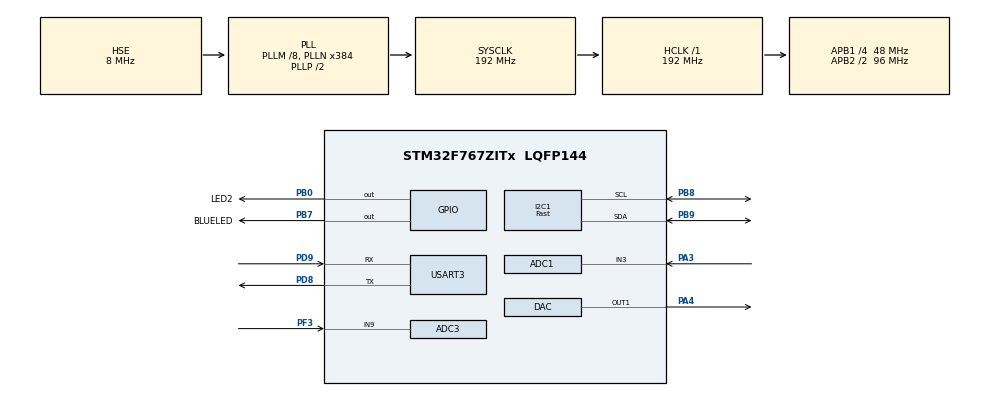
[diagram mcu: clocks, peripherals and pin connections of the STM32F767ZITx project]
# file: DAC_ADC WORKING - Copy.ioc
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ADC1.Channel-0\#ChannelRegularConversion=ADC_CHANNEL_3
ADC1.DMAContinuousRequests=ENABLE
ADC1.ExternalTrigConv=ADC_EXTERNALTRIGCONV_T6_TRGO
ADC1.NbrOfConversionFlag=1
ADC1.Rank-0\#ChannelRegularConversion=1
ADC1.SamplingTime-0\#ChannelRegularConversion=ADC_SAMPLETIME_3CYCLES
ADC1.master=1
ADC3.Channel-1\#ChannelRegularConversion=ADC_CHANNEL_9
ADC3.DMAContinuousRequests=ENABLE
ADC3.ExternalTrigConv=ADC_EXTERNALTRIGCONV_T6_TRGO
ADC3.NbrOfConversionFlag=1
ADC3.Rank-1\#ChannelRegularConversion=1
ADC3.SamplingTime-1\#ChannelRegularConversion=ADC_SAMPLETIME_3CYCLES
CORTEX_M7.default_mode_Activation=1
DAC.DAC_Trigger=DAC_TRIGGER_NONE
Dma.ADC1.0.Direction=DMA_PERIPH_TO_MEMORY
Dma.ADC1.0.FIFOMode=DMA_FIFOMODE_DISABLE
Dma.ADC1.0.Instance=DMA2_Stream0
Dma.ADC1.0.MemDataAlignment=DMA_MDATAALIGN_HALFWORD
Dma.ADC1.0.MemInc=DMA_MINC_ENABLE
Dma.ADC1.0.Mode=DMA_NORMAL
Dma.ADC1.0.PeriphDataAlignment=DMA_PDATAALIGN_HALFWORD
Dma.ADC1.0.PeriphInc=DMA_PINC_DISABLE
Dma.ADC1.0.Priority=DMA_PRIORITY_LOW
Dma.ADC3.1.Direction=DMA_PERIPH_TO_MEMORY
Dma.ADC3.1.FIFOMode=DMA_FIFOMODE_DISABLE
Dma.ADC3.1.Instance=DMA2_Stream1
Dma.ADC3.1.MemDataAlignment=DMA_MDATAALIGN_HALFWORD
Dma.ADC3.1.MemInc=DMA_MINC_ENABLE
Dma.ADC3.1.Mode=DMA_NORMAL
Dma.ADC3.1.PeriphDataAlignment=DMA_PDATAALIGN_HALFWORD
Dma.ADC3.1.PeriphInc=DMA_PINC_DISABLE
Dma.ADC3.1.Priority=DMA_PRIORITY_LOW
Dma.Request0=ADC1
Dma.Request1=ADC3
I2C1.I2C_Speed_Mode=I2C_Fast
I2C1.Timing=0x2010091A
Mcu.Family=STM32F7
Mcu.Name=STM32F767ZITx
Mcu.Package=LQFP144
NVIC.DMA2_Stream0_IRQn=true\:0\:0\:false\:false\:true\:false\:true\:true
NVIC.DMA2_Stream1_IRQn=true\:0\:0\:false\:false\:true\:false\:true\:true
NVIC.PriorityGroup=NVIC_PRIORITYGROUP_4
NVIC.TIM7_IRQn=true\:0\:0\:false\:false\:true\:true\:true\:true
PA3.Signal=ADCx_IN3
PA4.Signal=COMP_DAC1_group
PB0.GPIO_Label=LED2
PB0.Signal=GPIO_Output
PB7.GPIO_Label=BLUELED
PB7.Signal=GPIO_Output
PB8.Mode=I2C
PB8.Signal=I2C1_SCL
PB9.Mode=I2C
PB9.Signal=I2C1_SDA
PD8.Mode=Asynchronous
PD8.Signal=USART3_TX
PD9.Mode=Asynchronous
PD9.Signal=USART3_RX
PF3.Mode=IN9
PF3.Signal=ADC3_IN9
PH0/OSC_IN.Mode=HSE-External-Clock-Source
PH0/OSC_IN.Signal=RCC_OSC_IN
PH1/OSC_OUT.Mode=HSE-External-Clock-Source
PH1/OSC_OUT.Signal=RCC_OSC_OUT
ProjectManager.HeapSize=0x200
ProjectManager.StackSize=0x400
ProjectManager.TargetToolchain=STM32CubeIDE
RCC.AHBFreq_Value=192000000
RCC.APB1CLKDivider=RCC_HCLK_DIV4
RCC.APB1Freq_Value=48000000
RCC.APB1TimFreq_Value=96000000
RCC.APB2CLKDivider=RCC_HCLK_DIV2
RCC.APB2Freq_Value=96000000
RCC.APB2TimFreq_Value=192000000
RCC.CortexFreq_Value=192000000
RCC.HCLKFreq_Value=192000000
RCC.HSE_VALUE=8000000
RCC.HSI_VALUE=16000000
RCC.LSE_VALUE=32768
RCC.PLLM=8
RCC.PLLN=384
RCC.PLLSourceVirtual=RCC_PLLSOURCE_HSE
RCC.SYSCLKFreq_VALUE=192000000
RCC.SYSCLKSource=RCC_SYSCLKSOURCE_PLLCLK
RCC.USBFreq_Value=192000000
RCC.VCOOutputFreq_Value=384000000
SH.ADCx_IN3.0=ADC1_IN3,IN3
SH.COMP_DAC1_group.0=DAC_OUT1,DAC_OUT1
TIM6.Period=1200-1
TIM6.Prescaler=8-1
TIM6.TIM_MasterOutputTrigger=TIM_TRGO_UPDATE
TIM7.Period=119
TIM7.Prescaler=7
USART3.VirtualMode-Asynchronous=VM_ASYNC
VP_TIM6_VS_ClockSourceINT.Mode=Enable_Timer
VP_TIM7_VS_ClockSourceINT.Mode=Enable_Timer
board=custom

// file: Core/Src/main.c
/* USER CODE BEGIN Header */
/**
  ******************************************************************************
  * @file           : main.c
  * @brief          : Main program body
  ******************************************************************************
  * @attention
  *
  * Copyright (c) 2025 STMicroelectronics.
  * All rights reserved.
  *
  * This software is licensed under terms that can be found in the LICENSE file
  * in the root directory of this software component.
  * If no LICENSE file comes with this software, it is provided AS-IS.
  *
  ******************************************************************************
  */
/* USER CODE END Header */
#include "main.h"

/* USER CODE BEGIN Includes */
//#include "math.h"
#include <stdio.h>
#include "arm_math.h"
#include "ssd1306.h"
#include "ssd1306_fonts.h"

/* USER CODE END Includes */

/* USER CODE BEGIN PD */
#define NUM_SAMPLES 1024
#define ARM_MATH_CM7
#define fft_buf_size 1024
#define REF_RESISTANCE 2400.0f    // Ohms (Ri = 3.66kΩ)
#define ADC_VREF 3.3f             // ADC reference voltage
#define ADC_MAX_VALUE 4095.0f     // For a 12-bit ADC (2^12 - 1)

/* USER CODE END PD */

ADC_HandleTypeDef hadc1;
ADC_HandleTypeDef hadc3;
DMA_HandleTypeDef hdma_adc1;
DMA_HandleTypeDef hdma_adc3;

DAC_HandleTypeDef hdac;

I2C_HandleTypeDef hi2c1;

TIM_HandleTypeDef htim6;
TIM_HandleTypeDef htim7;

UART_HandleTypeDef huart3;

/* USER CODE BEGIN PV */
uint16_t adc1_buf[NUM_SAMPLES];
uint16_t adc3_buf[NUM_SAMPLES];
uint16_t sine_LUT[NUM_SAMPLES];
uint32_t N = NUM_SAMPLES;
uint32_t M = 32;
uint32_t freq_out ;
uint32_t fsampling ; // Hz (adjust based on TIM6 config)
uint32_t phase_inc;
uint32_t phase_acc;
uint32_t dac_res = 12;
uint32_t lut_idx;
uint32_t k;

/* USER CODE END PV */

void SystemClock_Config(void);
static void MPU_Config(void);
static void MX_GPIO_Init(void);
static void MX_DMA_Init(void);
static void MX_DAC_Init(void);
static void MX_TIM6_Init(void);
static void MX_ADC1_Init(void);
static void MX_USART3_UART_Init(void);
static void MX_TIM7_Init(void);
static void MX_ADC3_Init(void);
static void MX_I2C1_Init(void);

/* USER CODE BEGIN 0 */
float value = 0.2;

uint32_t var;

float32_t fft_input_v1[NUM_SAMPLES * 2];
float32_t fft_input_v2[NUM_SAMPLES * 2];
float32_t fft_output_v1[NUM_SAMPLES];  // Magnitude spectrum
float32_t fft_output_v2[NUM_SAMPLES];  // Magnitude spectrum
// Results
typedef struct {
    float magnitude_v1;    // V1 magnitude at signal frequency
    float magnitude_v2;    // V2 magnitude at signal frequency
    float phase_v1;        // V1 phase (radians)
    float phase_v2;        // V2 phase (radians)
    float phase_diff;      // V2 - V1 phase difference
    float impedance_mag;   // |Z(ω)|
    float impedance_phase; // ∠Z(ω)
    float real_z;          // Real part of Z
    float imag_z;          // Imaginary part of Z
    float I_component;     // In-phase component
    float Q_component;     // Quadrature component
} ImpedanceResult;

ImpedanceResult result;

// FFT instance (use appropriate size)
arm_rfft_fast_instance_f32 fft_instance;
/* USER CODE END 0 */

int main(void)
{

  /* USER CODE BEGIN 1 */
	for (int i = 0; i < NUM_SAMPLES; i++){
	float32_t theta = 2*PI * (float32_t)(i)/(float32_t)(NUM_SAMPLES);

	/// Converting sine value (-1 to +1) to DAC range from 0 to 4095 for 12-bit)
	sine_LUT[i] = ((arm_cos_f32(theta)*0.95)+1) * (1 << dac_res) /2; //adding headroom by scaling down from 100% to 95% to remove clipping
		}
		freq_out = 10;
		fsampling = 10000;

		//This represents the fraction of a complete sine cycle per sample
		phase_inc = ((float64_t)freq_out/ fsampling) * pow(2.0, M);
		phase_acc = 0;
		k = log2(NUM_SAMPLES);
  /* USER CODE END 1 */

  /* MPU Configuration--------------------------------------------------------*/
  MPU_Config();

  /* MCU Configuration--------------------------------------------------------*/

  /* Reset of all peripherals, Initializes the Flash interface and the Systick. */
  HAL_Init();

  /* Configure the system clock */
  SystemClock_Config();

  /* Initialize all configured peripherals */
  MX_GPIO_Init();
  MX_DMA_Init();
  MX_DAC_Init();
  MX_TIM6_Init();
  MX_ADC1_Init();
  MX_USART3_UART_Init();
  MX_TIM7_Init();
  MX_ADC3_Init();
  MX_I2C1_Init();
  /* USER CODE BEGIN 2 */
  ssd1306_Init();
  HAL_DAC_Start(&hdac, DAC_CHANNEL_1);
  HAL_TIM_Base_Start_IT(&htim7);
  //uint16_t dac_val = 0;
  HAL_Delay(1000);
  arm_rfft_fast_init_f32(&fft_instance,NUM_SAMPLES);

  HAL_ADC_Start_DMA(&hadc1, (uint32_t* )adc1_buf, NUM_SAMPLES);
  HAL_ADC_Start_DMA(&hadc3, (uint32_t* )adc3_buf, NUM_SAMPLES);
  HAL_TIM_Base_Start(&htim6);

  /* USER CODE END 2 */

  /* Infinite loop */
  while (1)
  {

  }
}

void SystemClock_Config(void)
{
  RCC_OscInitTypeDef RCC_OscInitStruct = {0};
  RCC_ClkInitTypeDef RCC_ClkInitStruct = {0};

  /** Configure the main internal regulator output voltage
  */
  __HAL_RCC_PWR_CLK_ENABLE();
  __HAL_PWR_VOLTAGESCALING_CONFIG(PWR_REGULATOR_VOLTAGE_SCALE1);

  /** Initializes the RCC Oscillators according to the specified parameters
  * in the RCC_OscInitTypeDef structure.
  */
  RCC_OscInitStruct.OscillatorType = RCC_OSCILLATORTYPE_HSE;
  RCC_OscInitStruct.HSEState = RCC_HSE_BYPASS;
  RCC_OscInitStruct.PLL.PLLState = RCC_PLL_ON;
  RCC_OscInitStruct.PLL.PLLSource = RCC_PLLSOURCE_HSE;
  RCC_OscInitStruct.PLL.PLLM = 8;
  RCC_OscInitStruct.PLL.PLLN = 384;
  RCC_OscInitStruct.PLL.PLLP = RCC_PLLP_DIV2;
  RCC_OscInitStruct.PLL.PLLQ = 2;
  RCC_OscInitStruct.PLL.PLLR = 2;
  if (HAL_RCC_OscConfig(&RCC_OscInitStruct) != HAL_OK)
  {
    Error_Handler();
  }

  /** Activate the Over-Drive mode
  */
  if (HAL_PWREx_EnableOverDrive() != HAL_OK)
  {
    Error_Handler();
  }

  /** Initializes the CPU, AHB and APB buses clocks
  */
  RCC_ClkInitStruct.ClockType = RCC_CLOCKTYPE_HCLK|RCC_CLOCKTYPE_SYSCLK
                              |RCC_CLOCKTYPE_PCLK1|RCC_CLOCKTYPE_PCLK2;
  RCC_ClkInitStruct.SYSCLKSource = RCC_SYSCLKSOURCE_PLLCLK;
  RCC_ClkInitStruct.AHBCLKDivider = RCC_SYSCLK_DIV1;
  RCC_ClkInitStruct.APB1CLKDivider = RCC_HCLK_DIV4;
  RCC_ClkInitStruct.APB2CLKDivider = RCC_HCLK_DIV2;

  if (HAL_RCC_ClockConfig(&RCC_ClkInitStruct, FLASH_LATENCY_6) != HAL_OK)
  {
    Error_Handler();
  }
}

static void MX_ADC1_Init(void)
{

  ADC_ChannelConfTypeDef sConfig = {0};

  /** Configure the global features of the ADC (Clock, Resolution, Data Alignment and number of conversion)
  */
  hadc1.Instance = ADC1;
  hadc1.Init.ClockPrescaler = ADC_CLOCK_SYNC_PCLK_DIV4;
  hadc1.Init.Resolution = ADC_RESOLUTION_12B;
  hadc1.Init.ScanConvMode = ADC_SCAN_DISABLE;
  hadc1.Init.ContinuousConvMode = DISABLE;
  hadc1.Init.DiscontinuousConvMode = DISABLE;
  hadc1.Init.ExternalTrigConvEdge = ADC_EXTERNALTRIGCONVEDGE_RISING;
  hadc1.Init.ExternalTrigConv = ADC_EXTERNALTRIGCONV_T6_TRGO;
  hadc1.Init.DataAlign = ADC_DATAALIGN_RIGHT;
  hadc1.Init.NbrOfConversion = 1;
  hadc1.Init.DMAContinuousRequests = ENABLE;
  hadc1.Init.EOCSelection = ADC_EOC_SINGLE_CONV;
  if (HAL_ADC_Init(&hadc1) != HAL_OK)
  {
    Error_Handler();
  }

  /** Configure for the selected ADC regular channel its corresponding rank in the sequencer and its sample time.
  */
  sConfig.Channel = ADC_CHANNEL_3;
  sConfig.Rank = ADC_REGULAR_RANK_1;
  sConfig.SamplingTime = ADC_SAMPLETIME_84CYCLES;
  if (HAL_ADC_ConfigChannel(&hadc1, &sConfig) != HAL_OK)
  {
    Error_Handler();
  }

}

static void MX_ADC3_Init(void)
{

  ADC_ChannelConfTypeDef sConfig = {0};

  /** Configure the global features of the ADC (Clock, Resolution, Data Alignment and number of conversion)
  */
  hadc3.Instance = ADC3;
  hadc3.Init.ClockPrescaler = ADC_CLOCK_SYNC_PCLK_DIV4;
  hadc3.Init.Resolution = ADC_RESOLUTION_12B;
  hadc3.Init.ScanConvMode = ADC_SCAN_DISABLE;
  hadc3.Init.ContinuousConvMode = DISABLE;
  hadc3.Init.DiscontinuousConvMode = DISABLE;
  hadc3.Init.ExternalTrigConvEdge = ADC_EXTERNALTRIGCONVEDGE_RISING;
  hadc3.Init.ExternalTrigConv = ADC_EXTERNALTRIGCONV_T6_TRGO;
  hadc3.Init.DataAlign = ADC_DATAALIGN_RIGHT;
  hadc3.Init.NbrOfConversion = 1;
  hadc3.Init.DMAContinuousRequests = ENABLE;
  hadc3.Init.EOCSelection = ADC_EOC_SINGLE_CONV;
  if (HAL_ADC_Init(&hadc3) != HAL_OK)
  {
    Error_Handler();
  }

  /** Configure for the selected ADC regular channel its corresponding rank in the sequencer and its sample time.
  */
  sConfig.Channel = ADC_CHANNEL_9;
  sConfig.Rank = ADC_REGULAR_RANK_1;
  sConfig.SamplingTime = ADC_SAMPLETIME_84CYCLES;
  if (HAL_ADC_ConfigChannel(&hadc3, &sConfig) != HAL_OK)
  {
    Error_Handler();
  }

}

static void MX_DAC_Init(void)
{

  DAC_ChannelConfTypeDef sConfig = {0};

  /** DAC Initialization
  */
  hdac.Instance = DAC;
  if (HAL_DAC_Init(&hdac) != HAL_OK)
  {
    Error_Handler();
  }

  /** DAC channel OUT1 config
  */
  sConfig.DAC_Trigger = DAC_TRIGGER_NONE;
  sConfig.DAC_OutputBuffer = DAC_OUTPUTBUFFER_ENABLE;
  if (HAL_DAC_ConfigChannel(&hdac, &sConfig, DAC_CHANNEL_1) != HAL_OK)
  {
    Error_Handler();
  }

}

static void MX_I2C1_Init(void)
{

  hi2c1.Instance = I2C1;
  hi2c1.Init.Timing = 0x2010091A;
  hi2c1.Init.OwnAddress1 = 0;
  hi2c1.Init.AddressingMode = I2C_ADDRESSINGMODE_7BIT;
  hi2c1.Init.DualAddressMode = I2C_DUALADDRESS_DISABLE;
  hi2c1.Init.OwnAddress2 = 0;
  hi2c1.Init.OwnAddress2Masks = I2C_OA2_NOMASK;
  hi2c1.Init.GeneralCallMode = I2C_GENERALCALL_DISABLE;
  hi2c1.Init.NoStretchMode = I2C_NOSTRETCH_DISABLE;
  if (HAL_I2C_Init(&hi2c1) != HAL_OK)
  {
    Error_Handler();
  }

  /** Configure Analogue filter
  */
  if (HAL_I2CEx_ConfigAnalogFilter(&hi2c1, I2C_ANALOGFILTER_ENABLE) != HAL_OK)
  {
    Error_Handler();
  }

  /** Configure Digital filter
  */
  if (HAL_I2CEx_ConfigDigitalFilter(&hi2c1, 0) != HAL_OK)
  {
    Error_Handler();
  }

}

static void MX_TIM6_Init(void)
{

  TIM_MasterConfigTypeDef sMasterConfig = {0};

  htim6.Instance = TIM6;
  htim6.Init.Prescaler = 8-1;
  htim6.Init.CounterMode = TIM_COUNTERMODE_UP;
  htim6.Init.Period = 120-1;
  htim6.Init.AutoReloadPreload = TIM_AUTORELOAD_PRELOAD_DISABLE;
  if (HAL_TIM_Base_Init(&htim6) != HAL_OK)
  {
    Error_Handler();
  }
  sMasterConfig.MasterOutputTrigger = TIM_TRGO_UPDATE;
  sMasterConfig.MasterSlaveMode = TIM_MASTERSLAVEMODE_DISABLE;
  if (HAL_TIMEx_MasterConfigSynchronization(&htim6, &sMasterConfig) != HAL_OK)
  {
    Error_Handler();
  }

}

static void MX_TIM7_Init(void)
{

  TIM_MasterConfigTypeDef sMasterConfig = {0};

  htim7.Instance = TIM7;
  htim7.Init.Prescaler = 7;
  htim7.Init.CounterMode = TIM_COUNTERMODE_UP;
  htim7.Init.Period = 1200-1;
  htim7.Init.AutoReloadPreload = TIM_AUTORELOAD_PRELOAD_DISABLE;
  if (HAL_TIM_Base_Init(&htim7) != HAL_OK)
  {
    Error_Handler();
  }
  sMasterConfig.MasterOutputTrigger = TIM_TRGO_RESET;
  sMasterConfig.MasterSlaveMode = TIM_MASTERSLAVEMODE_DISABLE;
  if (HAL_TIMEx_MasterConfigSynchronization(&htim7, &sMasterConfig) != HAL_OK)
  {
    Error_Handler();
  }

}

static void MX_USART3_UART_Init(void)
{

  huart3.Instance = USART3;
  huart3.Init.BaudRate = 115200;
  huart3.Init.WordLength = UART_WORDLENGTH_8B;
  huart3.Init.StopBits = UART_STOPBITS_1;
  huart3.Init.Parity = UART_PARITY_NONE;
  huart3.Init.Mode = UART_MODE_TX_RX;
  huart3.Init.HwFlowCtl = UART_HWCONTROL_NONE;
  huart3.Init.OverSampling = UART_OVERSAMPLING_16;
  huart3.Init.OneBitSampling = UART_ONE_BIT_SAMPLE_DISABLE;
  huart3.AdvancedInit.AdvFeatureInit = UART_ADVFEATURE_NO_INIT;
  if (HAL_UART_Init(&huart3) != HAL_OK)
  {
    Error_Handler();
  }

}

static void MX_DMA_Init(void)
{

  /* DMA controller clock enable */
  __HAL_RCC_DMA2_CLK_ENABLE();

  /* DMA interrupt init */
  /* DMA2_Stream0_IRQn interrupt configuration */
  HAL_NVIC_SetPriority(DMA2_Stream0_IRQn, 0, 0);
  HAL_NVIC_EnableIRQ(DMA2_Stream0_IRQn);
  /* DMA2_Stream1_IRQn interrupt configuration */
  HAL_NVIC_SetPriority(DMA2_Stream1_IRQn, 0, 0);
  HAL_NVIC_EnableIRQ(DMA2_Stream1_IRQn);

}

static void MX_GPIO_Init(void)
{
  GPIO_InitTypeDef GPIO_InitStruct = {0};

  /* GPIO Ports Clock Enable */
  __HAL_RCC_GPIOF_CLK_ENABLE();
  __HAL_RCC_GPIOH_CLK_ENABLE();
  __HAL_RCC_GPIOA_CLK_ENABLE();
  __HAL_RCC_GPIOB_CLK_ENABLE();
  __HAL_RCC_GPIOD_CLK_ENABLE();

  /*Configure GPIO pin Output Level */
  HAL_GPIO_WritePin(GPIOB, LED2_Pin|BLUELED_Pin, GPIO_PIN_RESET);

  /*Configure GPIO pins : LED2_Pin BLUELED_Pin */
  GPIO_InitStruct.Pin = LED2_Pin|BLUELED_Pin;
  GPIO_InitStruct.Mode = GPIO_MODE_OUTPUT_PP;
  GPIO_InitStruct.Pull = GPIO_NOPULL;
  GPIO_InitStruct.Speed = GPIO_SPEED_FREQ_LOW;
  HAL_GPIO_Init(GPIOB, &GPIO_InitStruct);

}

/* USER CODE BEGIN 4 */

void HAL_TIM_PeriodElapsedCallback(TIM_HandleTypeDef *htim){

//if (htim == &htim7){
//		 //HAL_GPIO_TogglePin(Green_Led_GPIO_Port, Green_Led_Pin);
//	}
	lut_idx = phase_acc >> (M - k);
	HAL_DAC_SetValue(&hdac, DAC_CHANNEL_1, DAC_ALIGN_12B_R, sine_LUT[lut_idx]);
	phase_acc += phase_inc;

}

int _write(int file, char *ptr, int len) {
    HAL_UART_Transmit(&huart3, (uint8_t*)ptr, len, HAL_MAX_DELAY);
    return len;
}

void Prepare_FFT_Data(uint16_t* adc_buf_signed, uint16_t* adc_buf_unsigned,
                      float32_t* fft_in_v1, float32_t* fft_in_v2) {
    float32_t sum_v1 = 0.0f;
    float32_t sum_v2 = 0.0f;

    // Calculate DC offset (mean value)
    for (int i = 0; i < NUM_SAMPLES; i++) {
        sum_v1 += (float32_t)adc_buf_signed[i];
        sum_v2 += (float32_t)adc_buf_unsigned[i];
    }

    float32_t mean_v1 = sum_v1 / NUM_SAMPLES;
    float32_t mean_v2 = sum_v2 / NUM_SAMPLES;

    // Prepare FFT input: remove DC, apply window, format for CMSIS-DSP
    // Format: [real0, imag0, real1, imag1, ...] where all imag = 0 initially
    for (int i = 0; i < NUM_SAMPLES; i++) {
        // Remove DC offset
        float32_t sample_v1 = (float32_t)adc_buf_signed[i] - mean_v1;
        float32_t sample_v2 = (float32_t)adc_buf_unsigned[i] - mean_v2;

        // Optional: Apply Hanning window to reduce spectral leakage
        float32_t window = 0.5f * (1.0f - arm_cos_f32(2.0f * PI * i / NUM_SAMPLES));

        // Store in FFT input buffer (real part only)
        fft_in_v1[i] = sample_v1 * window;
        fft_in_v2[i] = sample_v2 * window;
    }
}

void Compute_FFT(float32_t* fft_input, float32_t* fft_output) {
    // Temporary buffer for FFT output (complex format)
    float32_t fft_complex[NUM_SAMPLES * 2];

    // Perform FFT
    arm_rfft_fast_f32(&fft_instance, fft_input, fft_complex, 0);

    // Calculate magnitude spectrum
    arm_cmplx_mag_f32(fft_complex, fft_output, NUM_SAMPLES / 2);

}

void Extract_Signal_Parameters(float32_t* fft_complex, uint32_t bin_index,
        float32_t* magnitude, float32_t* phase) {
// Get real and imaginary parts at the signal frequency bin
float32_t real = fft_complex[bin_index * 2];
float32_t imag = fft_complex[bin_index * 2 + 1];

float32_t magnitude_lsb = 2.0f * sqrtf(real * real + imag * imag) / NUM_SAMPLES;
   *magnitude = magnitude_lsb * (ADC_VREF / ADC_MAX_VALUE);

// Calculate magnitude (divide by NUM_SAMPLES/2 for proper scaling)
//*magnitude = 2.0f * sqrtf(real * real + imag * imag) / NUM_SAMPLES;

// Calculate phase
*phase = atan2f(imag, real);
}

void Calculate_IQ_Components(float32_t mag_v2, float32_t phase_diff,
                             float32_t* I, float32_t* Q) {
    // I = magnitude * cos(phase)
    *I = mag_v2 * arm_cos_f32(phase_diff);

    // Q = magnitude * sin(phase)
    *Q = mag_v2 * arm_sin_f32(phase_diff);
}

void Calculate_Impedance(ImpedanceResult* res) {
    // Voltage ratio V2/V1
    float32_t voltage_ratio = res->magnitude_v2 / res->magnitude_v1;

    // Phase difference (V2 - V1)
    res->phase_diff = res->phase_v2 - res->phase_v1;

    // Normalize phase to [-π, π]
    while (res->phase_diff > PI) res->phase_diff -= 2.0f * PI;
    while (res->phase_diff < -PI) res->phase_diff += 2.0f * PI;

    // Calculate I and Q
    Calculate_IQ_Components(res->magnitude_v2, res->phase_diff,
                           &res->I_component, &res->Q_component);

    // Z(ω) = -Ri × (V2/V1)
    // Magnitude
    res->impedance_mag = REF_RESISTANCE * voltage_ratio;

    // Phase (add 180° for the negative sign)
    res->impedance_phase = res->phase_diff + PI;

    // Normalize phase
    while (res->impedance_phase > PI) res->impedance_phase -= 2.0f * PI;
    while (res->impedance_phase < -PI) res->impedance_phase += 2.0f * PI;

    // Convert to rectangular form
    res->real_z = res->impedance_mag * arm_cos_f32(res->impedance_phase);
    res->imag_z = res->impedance_mag * arm_sin_f32(res->impedance_phase);
}

void Process_Impedance_Measurement(void) {
    // Wait for DMA completion (implement your own flags/callbacks)
    // while (!adc1_complete || !adc3_complete);
	char buffer[32];

    // Calculate frequency bin for signal
    uint32_t signal_bin = (uint32_t)((freq_out * NUM_SAMPLES) / fsampling);
    printf("\r\n Starting Impedance Measurement \r\n");
    printf("Signal frequency: %lu Hz\r\n", freq_out);
    printf("FFT bin: %lu\r\n", signal_bin);

    // STEP 3: Prepare data
    Prepare_FFT_Data(adc1_buf, adc3_buf, fft_input_v1, fft_input_v2);

    // STEP 4: Compute FFT for both channels
    float32_t fft_complex_v1[NUM_SAMPLES * 2];
    float32_t fft_complex_v2[NUM_SAMPLES * 2];

    arm_rfft_fast_f32(&fft_instance, fft_input_v1, fft_complex_v1, 0);
    arm_rfft_fast_f32(&fft_instance, fft_input_v2, fft_complex_v2, 0);

    // STEP 5: Extract signal parameters at the frequency of interest
    Extract_Signal_Parameters(fft_complex_v1, signal_bin,
                             &result.magnitude_v1, &result.phase_v1);
    Extract_Signal_Parameters(fft_complex_v2, signal_bin,
                             &result.magnitude_v2, &result.phase_v2);

    // STEP 7: Calculate impedance
    Calculate_Impedance(&result);
    // Results are now in 'result' structure
        // Print or transmit results
        printf("V1: %.3f V @ %.2f°\r\n", result.magnitude_v1,
               result.phase_v1 * 180.0f / PI);
        printf("V2: %.3f V @ %.2f°\r\n", result.magnitude_v2,
               result.phase_v2 * 180.0f / PI);
        printf("I: %.3f V, Q: %.3f V\r\n", result.I_component, result.Q_component);
        printf("|Z|: %.2f Ω, ∠Z: %.2f°\r\n", result.impedance_mag,
               result.impedance_phase * 180.0f / PI);
        printf("Z = %.2f %+.2fj Ω\r\n", result.real_z, result.imag_z);

    // Results are now in 'result' structure

        // Show frequency
        sprintf(buffer, "F = %lu Hz", freq_out);
        ssd1306_SetCursor(0, 0);
        ssd1306_WriteString(buffer, Font_7x10, White);

        // FFT bin
        sprintf(buffer, "Bin = %lu", signal_bin);
        ssd1306_SetCursor(0, 12);
        ssd1306_WriteString(buffer, Font_7x10, White);

        // Voltages
        sprintf(buffer, "V1=%.2f", result.magnitude_v1);
        ssd1306_SetCursor(0, 24);
        ssd1306_WriteString(buffer, Font_7x10, White);

        sprintf(buffer, "V2=%.2f", result.magnitude_v2);
        ssd1306_SetCursor(64, 24);
        ssd1306_WriteString(buffer, Font_7x10, White);

        // Impedance
        sprintf(buffer, "|Z|=%.1f", result.impedance_mag);
        ssd1306_SetCursor(0, 36);
        ssd1306_WriteString(buffer, Font_7x10, White);

        sprintf(buffer, "Ang=%.1f", result.impedance_phase * 180.0f / PI);
        ssd1306_SetCursor(64, 36);
        ssd1306_WriteString(buffer, Font_7x10, White);

        // Complex form
        sprintf(buffer, "Z=%.1f%+.1fj", result.real_z, result.imag_z);
        ssd1306_SetCursor(0, 48);
        ssd1306_WriteString(buffer, Font_7x10, White);

        // Refresh OLED
        ssd1306_UpdateScreen();
}

/*******************************************************************************
 * STEP 9: DMA CALLBACKS (OPTIONAL)
 ******************************************************************************/

volatile uint8_t adc1_complete = 0;
volatile uint8_t adc3_complete = 0;

void HAL_ADC_ConvCpltCallback(ADC_HandleTypeDef* hadc) {
    if (hadc->Instance == ADC1) {
        adc1_complete = 1;
    } else if (hadc->Instance == ADC3) {
        adc3_complete = 1;
    }

    // If both complete, trigger processing
    if (adc1_complete && adc3_complete) {
        adc1_complete = 0;
        adc3_complete = 0;
        Process_Impedance_Measurement();
    }
}

/* USER CODE END 4 */

 /* MPU Configuration */

void MPU_Config(void)
{
  MPU_Region_InitTypeDef MPU_InitStruct = {0};

  /* Disables the MPU */
  HAL_MPU_Disable();

  /** Initializes and configures the Region and the memory to be protected
  */
  MPU_InitStruct.Enable = MPU_REGION_ENABLE;
  MPU_InitStruct.Number = MPU_REGION_NUMBER0;
  MPU_InitStruct.BaseAddress = 0x0;
  MPU_InitStruct.Size = MPU_REGION_SIZE_4GB;
  MPU_InitStruct.SubRegionDisable = 0x87;
  MPU_InitStruct.TypeExtField = MPU_TEX_LEVEL0;
  MPU_InitStruct.AccessPermission = MPU_REGION_NO_ACCESS;
  MPU_InitStruct.DisableExec = MPU_INSTRUCTION_ACCESS_DISABLE;
  MPU_InitStruct.IsShareable = MPU_ACCESS_SHAREABLE;
  MPU_InitStruct.IsCacheable = MPU_ACCESS_NOT_CACHEABLE;
  MPU_InitStruct.IsBufferable = MPU_ACCESS_NOT_BUFFERABLE;

  HAL_MPU_ConfigRegion(&MPU_InitStruct);
  /* Enables the MPU */
  HAL_MPU_Enable(MPU_PRIVILEGED_DEFAULT);

}

void Error_Handler(void)
{
  __disable_irq();
  while (1)
  {
  }
}
